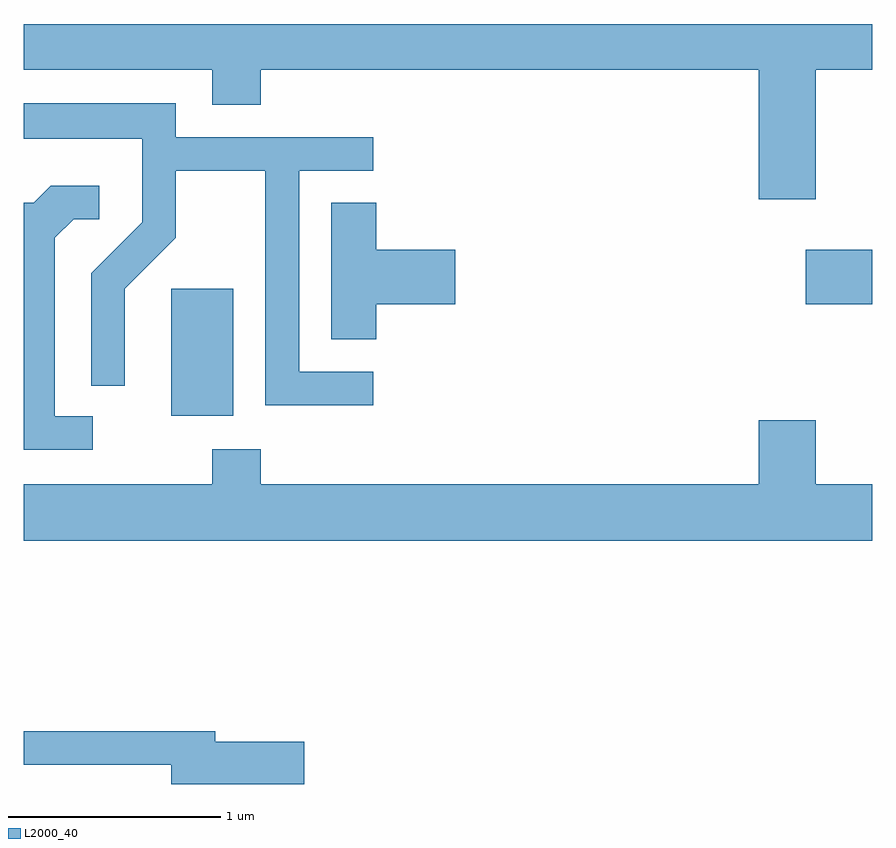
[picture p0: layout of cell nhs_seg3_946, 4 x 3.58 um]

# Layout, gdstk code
import gdstk
lib = gdstk.Library(unit=1e-6, precision=1e-09)
def R(c, l, rs):  # rectangles x0, y0, x1, y1
    for r in rs: c.add(gdstk.rectangle(r[:2], r[2:], *l))
def P(c, l, *ps):  # polygons
    for p in ps: c.add(gdstk.Polygon(p, *l))
L2000_40 = (2000, 40)

nhs_seg3_946 = lib.new_cell('nhs_seg3_946')
R(nhs_seg3_946, L2000_40, [(212.306,1242.046,212.599,1242.644), (215.296,1242.571,215.611,1242.829)])
P(nhs_seg3_946, L2000_40, [(215.344,1243.676),(215.611,1243.676),(215.611,1243.892),(211.611,1243.892),(211.611,1243.676),(212.501,1243.676),(212.501,1243.511),(212.729,1243.511),(212.729,1243.676),(215.076,1243.676),(215.076,1243.066),(215.344,1243.066)],
  [(213.258,1242.254),(212.909,1242.254),(212.909,1243.201),(213.258,1243.201),(213.258,1243.359),(212.329,1243.359),(212.329,1243.519),(211.611,1243.519),(211.611,1243.351),(212.171,1243.351),(212.171,1242.957),(211.931,1242.717),(211.931,1242.188),(212.089,1242.188),(212.089,1242.644),(212.329,1242.884),(212.329,1243.201),(212.751,1243.201),(212.751,1242.096),(213.258,1242.096)],
  [(211.938,1242.044),(211.759,1242.044),(211.759,1242.884),(211.847,1242.971),(211.968,1242.971),(211.968,1243.129),(211.739,1243.129),(211.659,1243.049),(211.611,1243.049),(211.611,1241.886),(211.938,1241.886)],
  [(213.274,1242.571),(213.644,1242.571),(213.644,1242.829),(213.274,1242.829),(213.274,1243.049),(213.061,1243.049),(213.061,1242.406),(213.274,1242.406)],
  [(215.611,1241.724),(215.344,1241.724),(215.344,1242.024),(215.076,1242.024),(215.076,1241.724),(212.729,1241.724),(212.729,1241.889),(212.501,1241.889),(212.501,1241.724),(211.611,1241.724),(211.611,1241.456),(215.611,1241.456)],
  [(212.934,1240.509),(212.514,1240.509),(212.514,1240.559),(211.611,1240.559),(211.611,1240.401),(212.306,1240.401),(212.306,1240.311),(212.934,1240.311)])

lib.write_gds('nhs_seg3_946.gds')
